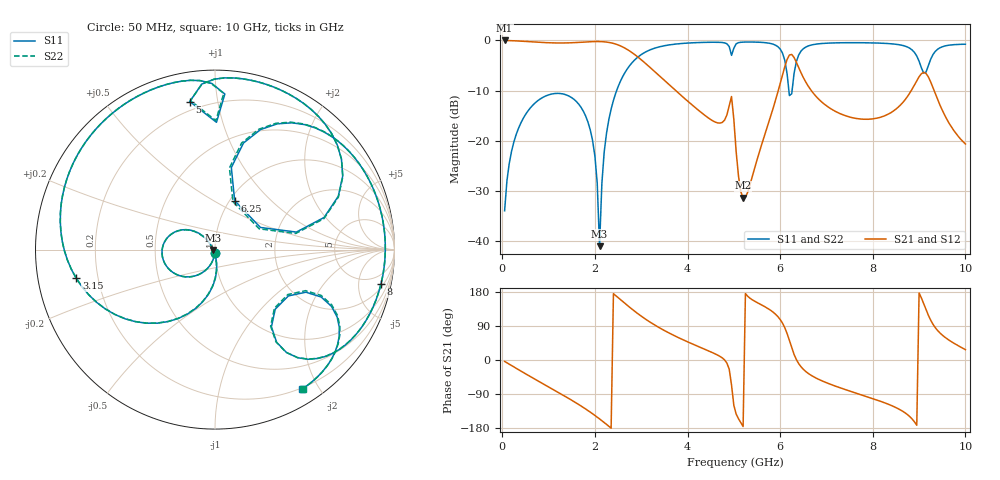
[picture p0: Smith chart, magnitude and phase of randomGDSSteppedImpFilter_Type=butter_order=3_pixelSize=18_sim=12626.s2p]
! freq	dB(S11)	phase(S11)	dB(S12)	phase(S12)
!  dB(S21)	phase(S21)	dB(S22)	phase(S22)
!S-par simulation data
#  GHz  S  DB  R 50
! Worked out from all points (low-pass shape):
!   200 points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, 50 MHz to 10 GHz, reference 50 ohm
!   highest |S21| = -0.01 dB at 50 MHz (marker M1); lowest = -31.4 dB at 5.2 GHz (marker M2)
!   |S21| within 3 dB of the highest: start of sweep to 2.886 GHz; 6.194 GHz to 6.267 GHz (72.76 MHz wide, 1.17 % of centre)
!   lowest |S11| = -41.1 dB at 2.1 GHz (marker M3), VSWR 1.02, Z = 49.2 - j0.222 ohm
!   |S11| at or under -10 dB: start of sweep to 2.47 GHz; 6.188 GHz to 6.258 GHz (69.59 MHz wide, 1.12 % of centre)
!   |S22| runs from -39.5 to -0.3 dB; largest |S21 - S12| = 0
!   S11 on the Smith chart (normalised r, x): 50 MHz: 1.00, -0.04; 3.15 GHz: 0.12, -0.10; 5 GHz: 0.15, +0.83; 6.25 GHz: 1.05, +0.63; 8 GHz: 2.53, -9.01; 10 GHz: 0.18, -1.79
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0.05  -34.01 -93.5  -0.01 -3.7  -0.01 -3.7  -34.01 -93.5
0.2  -22.13 -104.8  -0.05 -14.7  -0.05 -14.7  -22.13 -104.8
0.6  -13.53 -133.8  -0.26 -43.3  -0.26 -43.3  -13.53 -133.7
1.75  -14.13 145.5  -0.34 -125.2  -0.34 -125.2  -14.12 145.9
2  -23.11 129.1  -0.23 -146.3  -0.23 -146.3  -23.08 130.5
2.1  -41.07 -165.2  -0.23 -155.4  -0.23 -155.4  -39.50 -163.9
2.2  -22.33 -82.9  -0.28 -164.9  -0.28 -164.9  -22.30 -84.3
2.35  -13.71 -93.7  -0.48 -179.9  -0.48 -179.9  -13.71 -94.2
3.15  -2.05 -168.3  -5.06 103.2  -5.06 103.2  -2.05 -168.4
3.4  -1.26 173.3  -7.15 84.5  -7.15 84.5  -1.26 173.3
4.3  -0.40 121.8  -14.42 32.1  -14.42 32.1  -0.40 121.9
5  -1.55 99.7  -15.79 -119.5  -15.79 -119.5  -1.50 99.4
5.05  -0.68 94.6  -22.20 -142.7  -22.20 -142.7  -0.66 94.4
5.2  -0.34 83.7  -31.40 -175.5  -31.40 -175.5  -0.33 83.7
6  -1.71 29.9  -8.65 107.0  -8.65 107.0  -1.73 29.7
6.25  -10.64 68.1  -2.80 32.0  -2.80 32.0  -10.89 69.5
6.7  -0.86 43.9  -10.35 -42.7  -10.35 -42.7  -0.86 44.3
8  -0.50 -11.7  -15.66 -101.8  -15.66 -101.8  -0.50 -11.5
8.35  -0.63 -25.3  -14.64 -117.4  -14.64 -117.4  -0.64 -25.1
9.1  -6.52 -44.7  -6.38 148.7  -6.38 148.7  -6.65 -44.6
9.4  -1.76 -32.0  -11.79 77.8  -11.79 77.8  -1.78 -31.4
10  -0.76 -58.1  -20.67 27.4  -20.67 27.4  -0.76 -57.8
